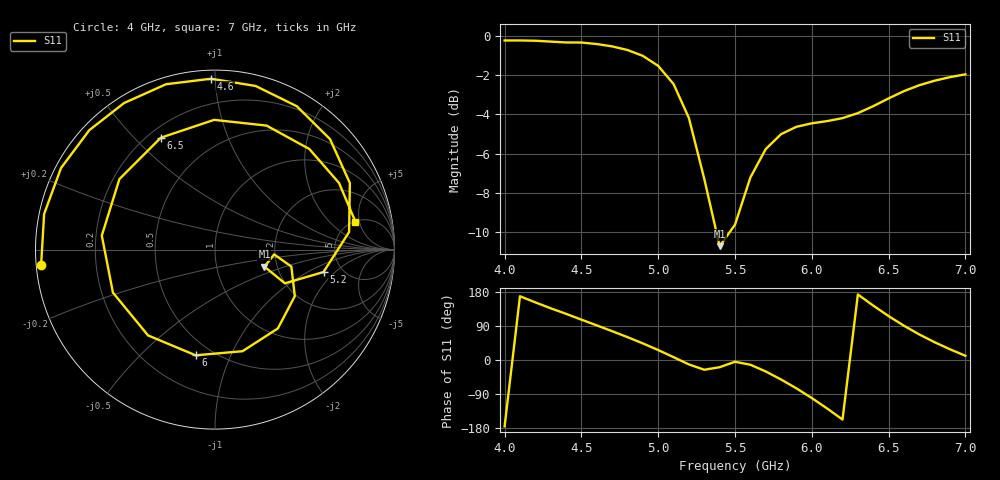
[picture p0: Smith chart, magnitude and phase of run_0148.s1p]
! Touchstone file exported from HFSS 2024.2.0
!  File:  C:/Users/wsak9/Desktop/Sim Fast/Widenad Patch/WP_AI_V1_sweep.aedt
!  Generated:  09:05:52 PM Oct 13, 2026
!  Design:  A1_model
!  Project:  WP_AI_V1_sweep
!  Setup:  Setup1
!  Solution:  Sweep
! Variables:
!  Air_gap = 2.3mm
!  Curve_Amp1 = 2.02
!  Curve_len1 = 1
!  Curve_pos = 10.085mm
!  Extra = 4.53mm
!  H_sub = 0.79mm
!  L_Patch = 16.17mm
!  L_Patch1 = 13.58mm
!  Sx = 2.88mm
!  Sy = 3.79mm
!  WS = 1.06mm
!  W_Patch = 21.93mm
!  W_Patch1 = 9.05mm
!Data is not renormalized
# GHz S MA
! Terminal data exported
! Port[1] = 1
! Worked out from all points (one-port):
!   31 points, 4 GHz to 7 GHz, reference per port
!   lowest |S11| = -10.7 dB at 5.4 GHz (marker M1), VSWR 1.82
!   |S11| at or under -10 dB: 5.379 GHz to 5.465 GHz (85.31 MHz wide, 1.57 % of centre)
!   S11 on the Smith chart (normalised r, x): 4 GHz: 0.01, -0.04; 4.6 GHz: 0.05, +0.98; 5.2 GHz: 3.60, -1.45; 6 GHz: 0.41, -0.75; 6.5 GHz: 0.25, +0.60; 7 GHz: 5.10, +4.35
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4  0.9724 -175.0
4.1  0.9725 168.2
4.2  0.9709 152.1
4.4  0.961 121.8
4.5  0.9609 106.5
4.6  0.9523 91.3
4.8  0.9196 60.3
4.9  0.8886 43.8
5  0.8379 26.3
5.1  0.7535 7.5
5.2  0.6173 -11.7
5.3  0.4323 -25.8
5.4  0.2916 -19.0
5.5  0.3306 -4.6
5.6  0.4358 -12.5
5.7  0.5148 -30.2
5.8  0.5618 -51.4
5.9  0.5866 -74.9
6  0.5987 -100.4
6.1  0.6064 -128.0
6.2  0.6171 -157.2
6.3  0.6354 172.9
6.4  0.6618 143.6
6.5  0.6927 115.9
6.6  0.7228 90.4
6.7  0.7483 67.4
6.9  0.7845 28.2
7  0.7977 11.2
